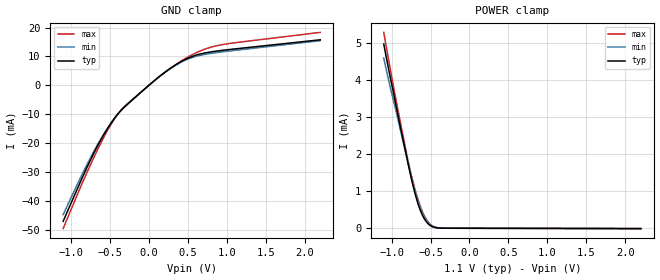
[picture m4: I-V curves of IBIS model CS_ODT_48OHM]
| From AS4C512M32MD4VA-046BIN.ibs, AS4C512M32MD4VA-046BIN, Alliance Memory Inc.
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|   MODEL: CS_ODT_48OHM
[Model]   CS_ODT_48OHM
Model_type   Input
Vinl   = 0.080V
Vinh   = 0.220V
|   typ   min   max
C_comp   0.564pF   0.508pF   0.620pF
[Voltage Range]   1.100V   1.060V   1.170V
[Temperature Range]   25.0   85.0   -40.0
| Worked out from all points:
|   GND clamp passes 1 mA (typ) near -0.04 V on its own axis
|   POWER clamp passes 1 mA (typ) near -0.71 V on its own axis
[GND Clamp]
|   Voltage   I(typ)   I(min)   I(max)
-1.1V     -47.1mA    -44.79mA   -49.64mA
-880mV    -33.55mA   -32.17mA   -35.47mA
-710mV    -23.7mA    -23.09mA   -25.23mA
-570mV    -16.73mA   -16.52mA   -17.57mA
-460mV    -12.12mA   -12.08mA   -12.41mA
-380mV    -9.361mA   -9.392mA   -9.348mA
-300mV    -7.189mA   -7.19mA    -6.991mA
200mV     4.405mA    4.345mA    4.381mA
500mV     9.372mA    9.105mA    9.785mA
650mV     10.8mA     10.35mA    11.8mA
830mV     11.71mA    11.2mA     13.46mA
2.2V      15.78mA    15.48mA    18.34mA
[POWER Clamp]
|   Voltage   I(typ)   I(min)   I(max)
-1.1V     4.96mA     4.581mA    5.274mA
-1.03V    4.206mA    3.92mA     4.447mA
-930mV    3.17mA     3.045mA    3.317mA
-810mV    1.963mA    1.951mA    2.04mA
-740mV    1.285mA    1.327mA    1.377mA
-680mV    795uA      858.9uA    906.7uA
-620mV    427.5uA    491.4uA    531.1uA
-560mV    193.8uA    239.2uA    260.5uA
-490mV    57.63uA    77.67uA    81.49uA
-420mV    12.84uA    18.74uA    17.27uA
-320mV    1.928uA    2.701uA    1.992uA
2.2V      -8.728uA   -10.49uA   -8.672uA
